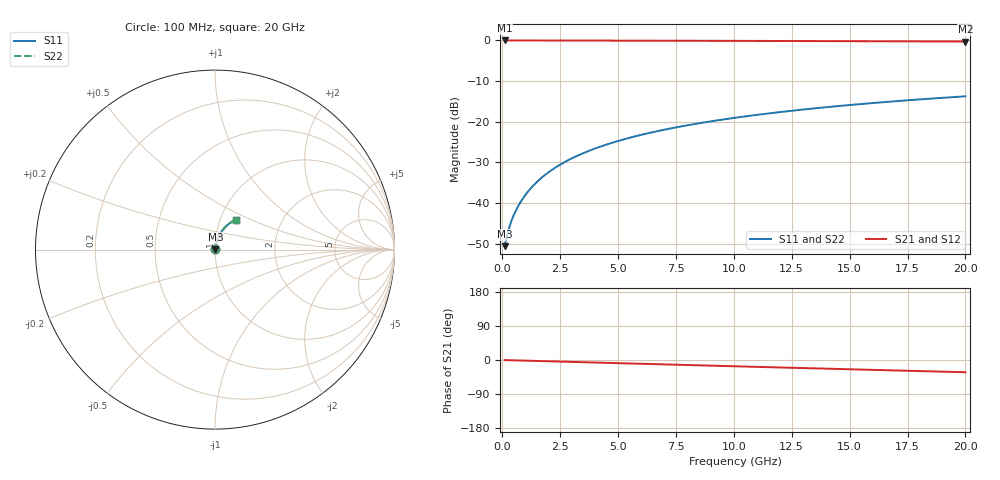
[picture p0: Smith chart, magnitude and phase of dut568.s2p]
! Touchstone file exported from HFSS 2026.1.0
!  File:  C:/ffzhzh/LocalFiles/Ansys_Project_Files/temp_train_BSMRDL_568_1783015485_55676.aedt
!  Generated:  02:06:04 AM Jul  3, 2026
!  Design:  BSMRDL
!  Project:  temp_train_BSMRDL_568_1783015485_55676
! Variables:
!  h_bsmrdl = 3.44um
!  h_ox = 20um
!  h_rdl = 5um
!  h_sub = 80um
!  h_tmrdl = 5um
!  h_tsv = 80um
!  h_via = 3um
!  l_bsmrdl = 518.45um
!  l_sub = 918.45um
!  l_tmrdl = 200um
!  m_sub = 200um
!  pitch = 35.67um
!  r_tsv = 6um
!  s_tmrdl = 10um
!  w_bsmrdl = 22.83um
!  w_sub = 500um
!  w_tmrdl = 12um
!  x_tsv_center1 = 206um
!  x_tsv_center2 = 747.28um
!  x_tsv_center3 = 959.28um
!  x_tsv_center4 = 1500.56um
!  x_tsv_center5 = 1712.56um
!  x_tsv_center6 = 2253.84um
# GHz S MA R 50.000000
! Terminal data exported
! Port[1] = BSM_RDL1_1_T1
! Port[2] = BSM_RDL1_1_T2
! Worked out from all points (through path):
!   200 points, 100 MHz to 20 GHz, reference 50 ohm
!   highest |S21| = -0.02 dB at 100 MHz (marker M1); lowest = -0.3 dB at 20 GHz (marker M2)
!   group delay of S21, straight-line fit = 4.48 ps
!   lowest |S11| = -50.6 dB at 100 MHz (marker M3), VSWR 1.01, Z = 50.3 + j0.145 ohm
!   |S11| at or under -10 dB: start of sweep to end of sweep
!   |S22| runs from -50.6 to -13.8 dB; largest |S21 - S12| = 4e-15
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0.1  0.002953 29.2  0.9974 -0.2  0.9974 -0.2  0.002953 29.2
! Gamma 0 0 0 0
! Port Impedance 50 0 50 0
0.2  0.003926 45.3  0.9973 -0.4  0.9973 -0.4  0.003926 45.3
0.3  0.005013 53.7  0.9971 -0.5  0.9971 -0.5  0.005013 53.7
0.4  0.006099 58.8  0.9969 -0.7  0.9969 -0.7  0.006099 58.8
0.5  0.007175 62.5  0.9968 -0.9  0.9968 -0.9  0.007175 62.5
0.6  0.00825 65.3  0.9967 -1.0  0.9967 -1.0  0.00825 65.3
0.8  0.01042 69.3  0.9965 -1.4  0.9965 -1.4  0.01042 69.3
1  0.01262 72.0  0.9964 -1.7  0.9964 -1.7  0.01262 72.0
1.2  0.01486 73.9  0.9963 -2.0  0.9963 -2.0  0.01486 73.9
1.4  0.01712 75.2  0.9962 -2.4  0.9962 -2.4  0.01712 75.2
1.7  0.02053 76.5  0.996 -2.9  0.996 -2.9  0.02053 76.5
2.2  0.02624 77.6  0.9957 -3.7  0.9957 -3.7  0.02624 77.6
2.8  0.03311 78.0  0.9953 -4.7  0.9953 -4.7  0.03311 78.0
3.5  0.04109 77.8  0.9947 -5.9  0.9947 -5.9  0.04109 77.8
4.2  0.04901 77.3  0.994 -7.0  0.994 -7.0  0.04901 77.3
5  0.05796 76.4  0.993 -8.4  0.993 -8.4  0.05796 76.4
6.8  0.07768 74.0  0.9907 -11.3  0.9907 -11.3  0.07768 74.0
8.3  0.09367 71.9  0.9885 -13.8  0.9885 -13.8  0.09367 71.9
10.1  0.1123 69.3  0.9857 -16.7  0.9857 -16.7  0.1123 69.2
13.4  0.1451 64.4  0.98 -22.0  0.98 -22.0  0.1451 64.3
16.7  0.1761 59.5  0.9739 -27.2  0.9739 -27.2  0.1761 59.4
20  0.2052 54.6  0.9674 -32.3  0.9674 -32.3  0.2052 54.6
